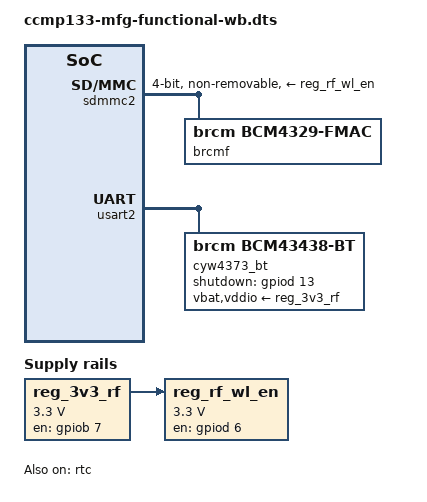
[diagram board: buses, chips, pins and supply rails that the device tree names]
/*
 * Copyright 2022, 2023 Digi International, Inc.
 *
 * The code contained herein is licensed under the GNU General Public
 * License. You may obtain a copy of the GNU General Public License
 * Version 2 or later at the following locations:
 *
 * http://www.opensource.org/licenses/gpl-license.html
 * http://www.gnu.org/copyleft/gpl.html
 */

#include <dt-bindings/rtc/rtc-stm32.h>
/* Digi ConnectCore MP13 non-wireless FCT */
#include "ccmp133-mfg-functional.dts"

/ {
	bluetooth {
		/* U-Boot will fill in the MAC address here */
	};

	wireless {
		/* U-Boot will fill in the MAC address here */
	};
};

/* Enable the RF regulator */
&reg_3v3_rf{
	compatible = "regulator-fixed";
	regulator-name = "3v3_rf";
	regulator-min-microvolt = <3300000>;
	regulator-max-microvolt = <3300000>;
	gpio = <&gpiob 7 GPIO_ACTIVE_HIGH>; /* 3V3_RF_EN */
	enable-active-high;
	startup-delay-us = <100000>;
	status = "okay";
};

/* Enable the WL regulator */
&reg_rf_wl_en{
	compatible = "regulator-fixed";
	regulator-name = "rf_wl_en";
	regulator-min-microvolt = <3300000>;
	regulator-max-microvolt = <3300000>;
	gpio = <&gpiod 6 GPIO_ACTIVE_HIGH>; /* WL_REG_EN */
	enable-active-high;
	startup-delay-us = <100>;
	vin-supply = <&reg_3v3_rf>;
	status = "okay";
};

&rtc{
	st,lsco = <RTC_OUT2_RMP>;
	pinctrl-0 = <&ccmp13_rtc_out1_pins_a &rtc_out2_rmp_pins_a>;
	pinctrl-names = "default";
	status = "okay";
};

/* Enable SDMMC2 (Wireless) */
&sdmmc2{
	arm,primecell-periphid = <0x10153180>;
	pinctrl-names = "default", "opendrain", "sleep";
	pinctrl-0 = <&sdmmc2_b4_pins_a &sdmmc2_clk_pins_a>;
	pinctrl-1 = <&sdmmc2_b4_od_pins_a &sdmmc2_clk_pins_a>;
	pinctrl-2 = <&sdmmc2_b4_sleep_pins_a>;
	non-removable;
	no-1-8-v;
	st,neg-edge;
	bus-width = <4>;
	vmmc-supply = <&reg_rf_wl_en>;
	max-frequency = <1000000>;
	status = "okay";

	brcmf {
		compatible = "brcm,bcm4329-fmac";

		brcm,broken_sg_support;
		brcm,sd_head_align = /bits/  16 <8>;
		brcm,sd_sgentry_align = /bits/ 16 <32>;
	};
};

/* Enable USART2 (Bluetooth) */
&usart2{
	pinctrl-names = "default", "sleep", "idle";
	pinctrl-0 = <&ccmp13_usart2_pins_a>;
	pinctrl-1 = <&ccmp13_usart2_sleep_pins_a>;
	pinctrl-2 = <&ccmp13_usart2_idle_pins_a>;
	uart-has-rtscts;
	status = "okay";

	/* Enable CYW4373 Bluetooth node */
	cyw4373_bt {
		shutdown-gpios = <&gpiod 13 GPIO_ACTIVE_HIGH>;
		compatible = "brcm,bcm43438-bt";
		max-speed = <3000000>;
		vbat-supply = <&reg_3v3_rf>;
		vddio-supply = <&reg_3v3_rf>;
		status = "okay";
	};
};
